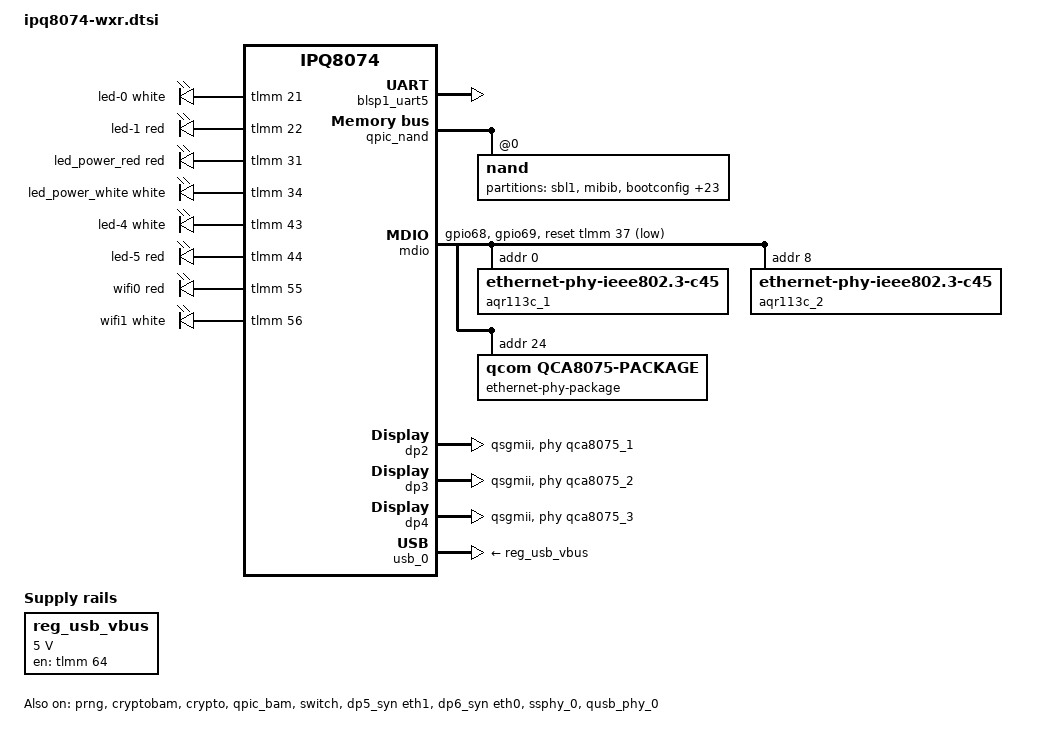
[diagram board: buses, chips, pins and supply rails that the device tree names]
// SPDX-License-Identifier: GPL-2.0-or-later OR MIT

/dts-v1/;

#include "ipq8074.dtsi"
#include "ipq8074-hk-cpu.dtsi"
#include "ipq8074-ess.dtsi"
#include "ipq8074-nss.dtsi"
#include <dt-bindings/gpio/gpio.h>
#include <dt-bindings/leds/common.h>
#include <dt-bindings/input/input.h>

/ {
	aliases {
		serial0 = &blsp1_uart5;
		label-mac-device = &dp5_syn;
	};

	chosen {
		stdout-path = "serial0:115200n8";
		bootargs-append = " coherent_pool=2M swiotlb=1 mitigations=off root=/dev/ubiblock0_1";
	};

	leds {
		compatible = "gpio-leds";

		led-0 {
			gpios = <&tlmm 21 GPIO_ACTIVE_HIGH>;
			color = <LED_COLOR_ID_WHITE>;
			function = "router";
		};

		led-1 {
			gpios = <&tlmm 22 GPIO_ACTIVE_HIGH>;
			color = <LED_COLOR_ID_RED>;
			function = "router";
		};

		led_power_red: led-2 {
			gpios = <&tlmm 31 GPIO_ACTIVE_HIGH>;
			color = <LED_COLOR_ID_RED>;
			function = LED_FUNCTION_POWER;
		};

		led_power_white: led-3 {
			gpios = <&tlmm 34 GPIO_ACTIVE_HIGH>;
			color = <LED_COLOR_ID_WHITE>;
			function = LED_FUNCTION_POWER;
		};

		led-4 {
			gpios = <&tlmm 43 GPIO_ACTIVE_HIGH>;
			color = <LED_COLOR_ID_WHITE>;
			function = "internet";
		};

		led-5 {
			gpios = <&tlmm 44 GPIO_ACTIVE_HIGH>;
			color = <LED_COLOR_ID_RED>;
			function = "internet";
		};

		led-6 {
			label = "wifi0";
			gpios = <&tlmm 55 GPIO_ACTIVE_HIGH>;
			color = <LED_COLOR_ID_RED>;
			function = LED_FUNCTION_WLAN;
			linux,default-trigger = "phy0tpt";
		};

		led-7 {
			label = "wifi1";
			gpios = <&tlmm 56 GPIO_ACTIVE_HIGH>;
			color = <LED_COLOR_ID_WHITE>;
			function = LED_FUNCTION_WLAN;
			linux,default-trigger = "phy1tpt";
		};
	};

	keys {
		compatible = "gpio-keys";

		/*
		 * mode: 3x position switch
		 *
		 * - ROUTER
		 * - AP
		 * - WB (Wireless Bridge)
		 */
/*		ap {
			label = "mode-ap";
			gpios = <&tlmm 29 GPIO_ACTIVE_LOW>;
			linux,code = <BTN_0>;
		};

		bridge {
			label = "mode-wb";
			gpios = <&tlmm 30 GPIO_ACTIVE_LOW>;
			linux,code = <BTN_1>;
		};
*/
		/*
		 * op: 2x position switch
		 *
		 * - AUTO
		 * - MANUAL (select Router/AP/WB manually)
		 */
/*		manual {
			label = "op-manual";
			gpios = <&tlmm 52 GPIO_ACTIVE_LOW>;
			linux,code = <BTN_2>;
		};

		wps {
			label = "wps";
			gpios = <&tlmm 51 GPIO_ACTIVE_LOW>;
			linux,code = <KEY_WPS_BUTTON>;
		};

		reset {
			label = "reset";
			gpios = <&tlmm 54 GPIO_ACTIVE_LOW>;
			linux,code = <KEY_RESTART>;
		};
*/
	};

	reg_usb_vbus: regulator-5v-vbus {
		compatible = "regulator-fixed";
		regulator-name = "vbus";
		regulator-min-microvolt = <5000000>;
		regulator-max-microvolt = <5000000>;
		gpios = <&tlmm 64 GPIO_ACTIVE_HIGH>;
		enable-active-high;
		regulator-always-on;
	};
};

&tlmm {
	mdio_pins: mdio-pins {
		mdc {
			pins = "gpio68";
			function = "mdc";
			drive-strength = <8>;
			bias-pull-up;
		};

		mdio {
			pins = "gpio69";
			function = "mdio";
			drive-strength = <8>;
			bias-pull-up;
		};
	};
};

&blsp1_uart5 {
	status = "okay";
};

&prng {
	status = "okay";
};

&cryptobam {
	status = "okay";
};

&crypto {
	status = "okay";
};

&qpic_bam {
	status = "okay";
};

&qpic_nand {
	status = "okay";

	nand@0 {
		reg = <0>;
		nand-ecc-strength = <4>;
		nand-ecc-step-size = <512>;
		nand-bus-width = <8>;


		partitions {
			compatible = "fixed-partitions";
			#address-cells = <1>;
			#size-cells = <1>;

			partition@0 {
				label = "sbl1";
				reg = <0x0 0x100000>;
				read-only;
			};

			partition@100000 {
				label = "mibib";
				reg = <0x100000 0x100000>;
				read-only;
			};

			partition@200000 {
				label = "bootconfig";
				reg = <0x200000 0x80000>;
			};

			partition@280000 {
				label = "bootconfig1";
				reg = <0x280000 0x80000>;
			};

			partition@300000 {
				label = "qsee";
				reg = <0x300000 0x300000>;
				read-only;
			};

			partition@600000 {
				label = "qsee_1";
				reg = <0x600000 0x300000>;
				read-only;
			};

			partition@900000 {
				label = "devcfg";
				reg = <0x900000 0x80000>;
				read-only;
			};

			partition@980000 {
				label = "devcfg_1";
				reg = <0x980000 0x80000>;
				read-only;
			};

			partition@a00000 {
				label = "apdp";
				reg = <0xa00000 0x80000>;
				read-only;
			};

			partition@a80000 {
				label = "apdp_1";
				reg = <0xa80000 0x80000>;
				read-only;
			};

			partition@b00000 {
				label = "rpm";
				reg = <0xb00000 0x80000>;
				read-only;
			};

			partition@b80000 {
				label = "rpm_1";
				reg = <0xb80000 0x80000>;
				read-only;
			};

			partition@c00000 {
				label = "cdt";
				reg = <0xc00000 0x80000>;
				read-only;
			};

			partition@c80000 {
				label = "cdt_1";
				reg = <0xc80000 0x80000>;
				read-only;
			};

			partition@d00000 {
				compatible = "u-boot,env";
				label = "appsblenv";
				reg = <0xd00000 0x40000>;
				macaddr_appsblenv_ethaddr: ethaddr {
				};
			};

			partition@d80000 {
				label = "appsbl";
				reg = <0xd80000 0x100000>;
				read-only;
			};

			partition@e80000 {
				label = "appsbl_1";
				reg = <0xe80000 0x100000>;
				read-only;
			};

			partition@f80000 {
				label = "art";
				reg = <0xf80000 0x80000>;
				read-only;
			};

			partition@1000000 {
				label = "art_1";
				reg = <0x1000000 0x80000>;
				read-only;
			};

			partition@1080000 {
				label = "orgdata";
				reg = <0x1080000 0x80000>;
			};

			partition@1100000 {
				label = "orgdata_1";
				reg = <0x1100000 0x80000>;
			};

			partition@1180000 {
				label = "rootfs";
				reg = <0x1180000 0x4000000>;
			};

			partition@5180000 {
				label = "rootfs_recover";
				reg = <0x5180000 0x4000000>;
			};

			partition@9180000 {
				label = "nvram";
				reg = <0x9180000 0x100000>;
			};

			partition@9280000 {
				label = "oops";
				reg = <0x9280000 0x100000>;
			};

			partition@9380000 {
				label = "ddwrt";
				reg = <0x9380000 0x6c80000>;
			};

		};
	};
};

&mdio {
	status = "okay";
	pinctrl-0 = <&mdio_pins>;
	pinctrl-names = "default";
	/*
	 * RESET pins of phy chips
	 *
	 * WXR-5950AX12 has 2x RESET pins for QCA8075 and AQR113C.
	 * The pin of QCA8075 is for the chip and not phys in the chip, the
	 * pin of AQR113C is for 2x chips. So both pins are not appropriate
	 * to declare them as reset-gpios in phy nodes.
	 * Multiple entries in reset-gpios of mdio may not be supported, but
	 * leave the following as-is to show that the those reset pin exists.
	 */
	reset-gpios = <&tlmm 37 GPIO_ACTIVE_LOW>, /* QCA8075 RESET */
		      <&tlmm 63 GPIO_ACTIVE_LOW>; /* AQR113C RESET (2x) */

	aqr113c_1: ethernet-phy@0 {
		compatible = "ethernet-phy-ieee802.3-c45";
		reg = <0x0>;
	};

	aqr113c_2: ethernet-phy@8 {
		compatible = "ethernet-phy-ieee802.3-c45";
		reg = <0x8>;
	};

	ethernet-phy-package@17 {
		#address-cells = <1>;
		#size-cells = <0>;
		compatible = "qcom,qca8075-package";
		reg = <0x18>;

		qcom,package-mode = "qsgmii";

		qca8075_1: ethernet-phy@19 {
			compatible = "ethernet-phy-ieee802.3-c22";
			reg = <0x19>;
		};

		qca8075_2: ethernet-phy@1a {
			compatible = "ethernet-phy-ieee802.3-c22";
			reg = <0x1a>;
		};

		qca8075_3: ethernet-phy@1b {
			compatible = "ethernet-phy-ieee802.3-c22";
			reg = <0x1b>;
		};
	};
};

&switch {
	status = "okay";

	switch_lan_bmp = <(ESS_PORT2 | ESS_PORT3 | ESS_PORT4 | ESS_PORT6)>;
	switch_wan_bmp = <ESS_PORT5>;
	switch_mac_mode = <MAC_MODE_QSGMII>;
	switch_mac_mode1 = <MAC_MODE_USXGMII>;
	switch_mac_mode2 = <MAC_MODE_USXGMII>;

	qcom,port_phyinfo {
		port@2 {
			port_id = <2>;
			phy_address = <0x19>;
		};

		port@3 {
			port_id = <3>;
			phy_address = <0x1a>;
		};

		port@4 {
			port_id = <4>;
			phy_address = <0x1b>;
		};

		port@5 {
			port_id = <5>;
			ethernet-phy-ieee802.3-c45;
			phy_address = <0x0>;
		};

		port@6 {
			port_id = <6>;
			ethernet-phy-ieee802.3-c45;
			phy_address = <0x8>;
		};
	};
};

&edma {
	status = "okay";
};

&dp2 {
	status = "okay";
	phy-mode = "qsgmii";
	phy-handle = <&qca8075_1>;
	label = "eth4";
	nvmem-cells = <&macaddr_appsblenv_ethaddr>;
	nvmem-cell-names = "mac-address";
};

&dp3 {
	status = "okay";
	phy-mode = "qsgmii";
	phy-handle = <&qca8075_2>;
	label = "eth3";
	nvmem-cells = <&macaddr_appsblenv_ethaddr>;
	nvmem-cell-names = "mac-address";
};

&dp4 {
	status = "okay";
	phy-mode = "qsgmii";
	phy-handle = <&qca8075_3>;
	label = "eth2";
	nvmem-cells = <&macaddr_appsblenv_ethaddr>;
	nvmem-cell-names = "mac-address";
};

&dp5_syn {
	status = "okay";
	phy-mode = "usxgmii";
	phy-handle = <&aqr113c_1>;
	label = "eth1";
	nvmem-cells = <&macaddr_appsblenv_ethaddr>;
	nvmem-cell-names = "mac-address";
};

&dp6_syn {
	status = "okay";
	phy-mode = "usxgmii";
	phy-handle = <&aqr113c_2>;
	label = "eth0";
	nvmem-cells = <&macaddr_appsblenv_ethaddr>;
	nvmem-cell-names = "mac-address";
};

&ssphy_0 {
	status = "okay";
};

&qusb_phy_0 {
	status = "okay";
};

&usb_0 {
	status = "okay";

	vbus-supply = <&reg_usb_vbus>;
};
